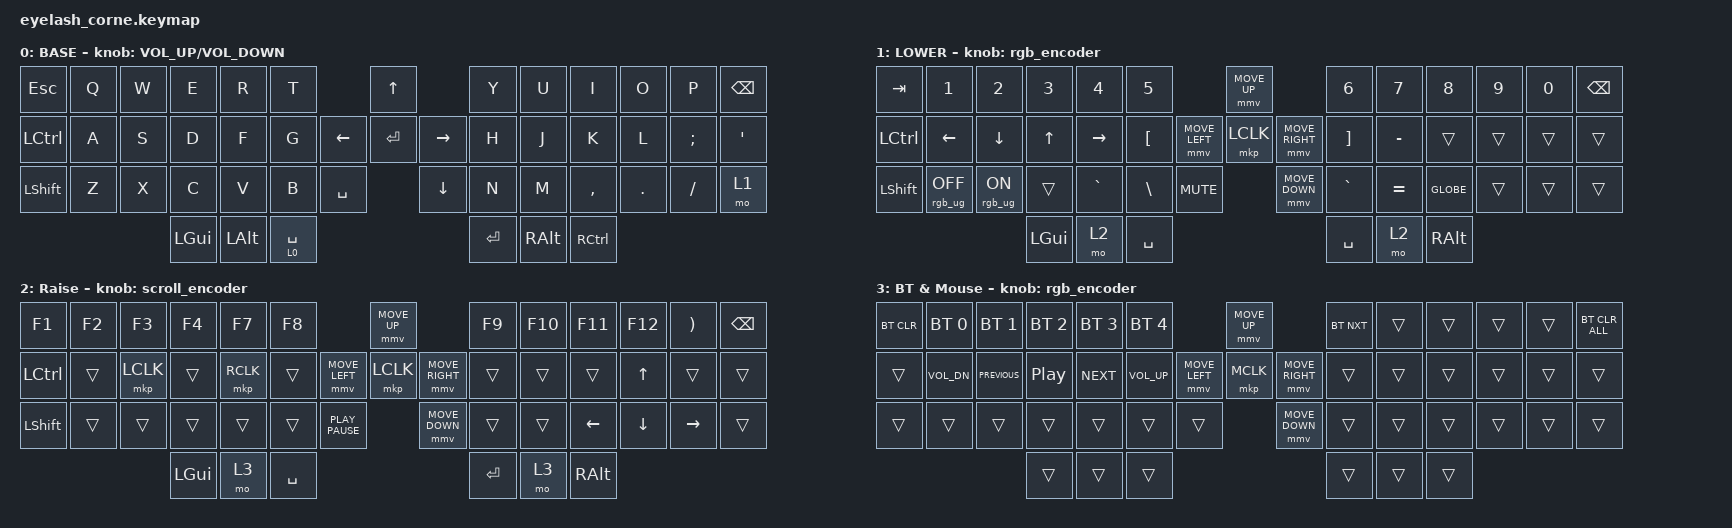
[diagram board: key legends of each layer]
#define ZMK_POINTING_DEFAULT_MOVE_VAL 1200  // 600
#define ZMK_POINTING_DEFAULT_SCRL_VAL 25   // 10

#include <input/processors.dtsi>
#include <zephyr/dt-bindings/input/input-event-codes.h>
#include <behaviors.dtsi>
#include <dt-bindings/zmk/bt.h>
#include <dt-bindings/zmk/keys.h>
#include <dt-bindings/zmk/pointing.h>
#include <dt-bindings/zmk/rgb.h>

&mmv_input_listener { input-processors = <&zip_xy_scaler 2 1>; };

&msc_input_listener { input-processors = <&zip_scroll_scaler 2 1>; };

&msc {
    acceleration-exponent = <1>;      // 0
    time-to-max-speed-ms = <100>;       // 300
    delay-ms = <0>;                   // 0
};

&mmv {
    time-to-max-speed-ms = <500>;
    acceleration-exponent = <1>;
    trigger-period-ms = <16>;
};

/ {
    behaviors {
        td0: td0 {
            compatible = "zmk,behavior-tap-dance";
            display-name = "Shift/Caps Lock Tap Dance";
            #binding-cells = <0>;
            bindings = <&kp LEFT_SHIFT>, <&kp CAPS>;
        };
    };

    rgb_encoder: rgb_encoder {
        compatible = "zmk,behavior-sensor-rotate";
        #sensor-binding-cells = <0>;
        bindings = <&rgb_ug RGB_BRI>, <&rgb_ug RGB_BRD>;
    };

    scroll_encoder: scroll_encoder {
        compatible = "zmk,behavior-sensor-rotate";
        #sensor-binding-cells = <0>;
        bindings = <&msc SCRL_DOWN>, <&msc SCRL_UP>;

        tap-ms = <100>;
    };

    keymap {
        compatible = "zmk,keymap";

        default_layer {
            display-name = "BASE";
            bindings = <
&kp ESC     &kp Q  &kp W  &kp E     &kp R         &kp T                               &kp UP                &kp Y      &kp U     &kp I      &kp O    &kp P     &kp BSPC
&kp LCTRL   &kp A  &kp S  &kp D     &kp F         &kp G                     &kp LEFT  &kp ENTER  &kp RIGHT  &kp H      &kp J     &kp K      &kp L    &kp SEMI  &kp SQT
&kp LSHIFT  &kp Z  &kp X  &kp C     &kp V         &kp B        &kp SPACE              &kp DOWN              &kp N      &kp M     &kp COMMA  &kp DOT  &kp FSLH  &mo 1
                          &kp LGUI  &kp LEFT_ALT  &lt 0 SPACE                                               &kp ENTER  &kp RALT  &kp RCTRL
            >;

            sensor-bindings = <&inc_dec_kp C_VOLUME_UP C_VOLUME_DOWN>;
        };

        lower_layer {
            display-name = "LOWER";
            bindings = <
&kp TAB     &kp N1           &kp N2          &kp N3        &kp N4     &kp N5                                          &mmv MOVE_UP                     &kp N6             &kp N7     &kp N8         &kp N9  &kp N0  &kp BSPC
&kp LCTRL   &kp LEFT         &kp DOWN        &kp UP_ARROW  &kp RIGHT  &kp LEFT_BRACKET                &mmv MOVE_LEFT  &mkp LCLK       &mmv MOVE_RIGHT  &kp RIGHT_BRACKET  &kp MINUS  &trans         &trans  &trans  &trans
&kp LSHIFT  &rgb_ug RGB_OFF  &rgb_ug RGB_ON  &trans        &kp GRAVE  &kp BACKSLASH     &kp C_MUTE                    &mmv MOVE_DOWN                   &kp GRAVE          &kp EQUAL  &kp GLOBE      &trans  &trans  &trans
                                             &kp LGUI      &mo 2      &kp SPACE                                                                        &kp SPACE          &mo 2      &kp RIGHT_ALT
            >;

            sensor-bindings = <&rgb_encoder>;
        };

        raise_layer {
            display-name = "Raise";
            bindings = <
&kp F1          &kp F2  &kp F3     &kp F4    &kp F7     &kp F8                                         &mmv MOVE_UP                     &kp F9   &kp F10  &kp F11        &kp F12       &kp RPAR   &kp BSPC
&kp LCTRL       &trans  &mkp LCLK  &trans    &mkp RCLK  &trans                         &mmv MOVE_LEFT  &mkp LCLK       &mmv MOVE_RIGHT  &trans   &trans   &trans         &kp UP_ARROW  &trans     &trans
&kp LEFT_SHIFT  &trans  &trans     &trans    &trans     &trans     &kp K_PLAY_PAUSE                    &mmv MOVE_DOWN                   &trans   &trans   &kp LEFT       &kp DOWN      &kp RIGHT  &trans
                                   &kp LGUI  &mo 3      &kp SPACE                                                                       &kp RET  &mo 3    &kp RIGHT_ALT
            >;

            sensor-bindings = <&scroll_encoder>;
        };

        layer_3 {
            bindings = <
&bt BT_CLR  &bt BT_SEL 0  &bt BT_SEL 1    &bt BT_SEL 2      &bt BT_SEL 3  &bt BT_SEL 4                               &mmv MOVE_UP                     &bt BT_NXT  &trans  &trans  &trans  &trans  &bt BT_CLR_ALL
&trans      &kp C_VOL_DN  &kp C_PREVIOUS  &kp C_PLAY_PAUSE  &kp C_NEXT    &kp C_VOLUME_UP            &mmv MOVE_LEFT  &mkp MCLK       &mmv MOVE_RIGHT  &trans      &trans  &trans  &trans  &trans  &trans
&trans      &trans        &trans          &trans            &trans        &trans           &trans                    &mmv MOVE_DOWN                   &trans      &trans  &trans  &trans  &trans  &trans
                                          &trans            &trans        &trans                                                                      &trans      &trans  &trans
            >;

            label = "BT & Mouse";
            sensor-bindings = <&rgb_encoder>;
        };
    };
};
